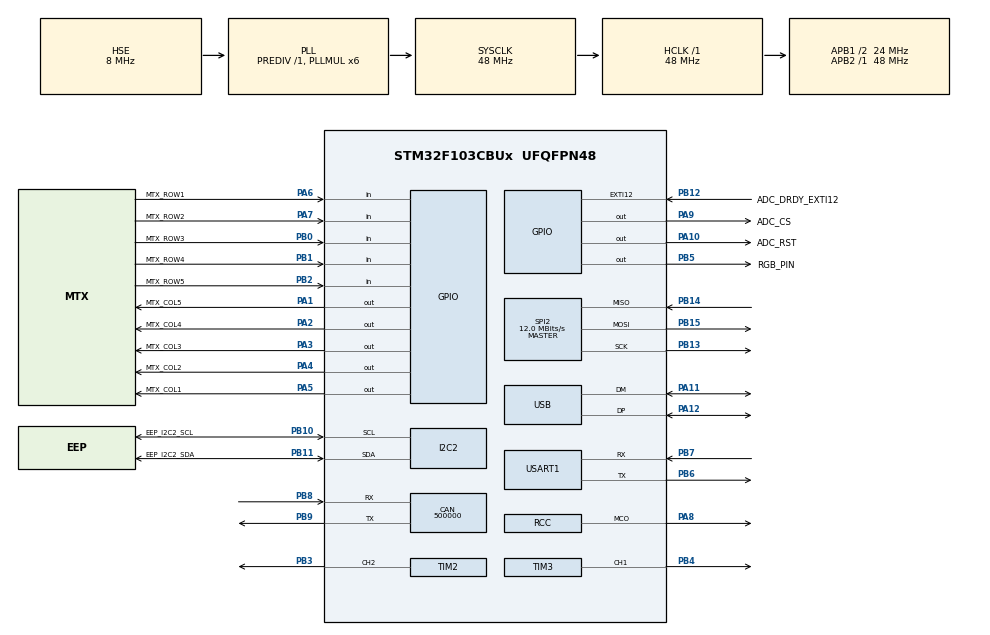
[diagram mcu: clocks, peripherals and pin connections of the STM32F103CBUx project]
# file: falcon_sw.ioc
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CAN.CalculateBaudRate=500000
CAN.CalculateTimeBit=2000
CAN.CalculateTimeQuantum=666.6666666666666
Mcu.Family=STM32F1
Mcu.Name=STM32F103CBUx
Mcu.Package=UFQFPN48
NVIC.PriorityGroup=NVIC_PRIORITYGROUP_4
NVIC.USB_LP_CAN1_RX0_IRQn=true\:0\:0\:false\:false\:true\:false\:true\:true
PA1.GPIO_Label=MTX_COL5
PA1.Signal=GPIO_Output
PA10.GPIO_Label=ADC_RST
PA10.Signal=GPIO_Output
PA11.Mode=Device
PA11.Signal=USB_DM
PA12.Mode=Device
PA12.Signal=USB_DP
PA13.Mode=Serial_Wire
PA13.Signal=SYS_JTMS-SWDIO
PA14.Mode=Serial_Wire
PA14.Signal=SYS_JTCK-SWCLK
PA2.GPIO_Label=MTX_COL4
PA2.Signal=GPIO_Output
PA3.GPIO_Label=MTX_COL3
PA3.Signal=GPIO_Output
PA4.GPIO_Label=MTX_COL2
PA4.Signal=GPIO_Output
PA5.GPIO_Label=MTX_COL1
PA5.Signal=GPIO_Output
PA6.GPIO_Label=MTX_ROW1
PA6.Signal=GPIO_Input
PA7.GPIO_Label=MTX_ROW2
PA7.Signal=GPIO_Input
PA8.Mode=Clock-out
PA8.Signal=RCC_MCO
PA9.GPIO_Label=ADC_CS
PA9.Signal=GPIO_Output
PB0.GPIO_Label=MTX_ROW3
PB0.Signal=GPIO_Input
PB1.GPIO_Label=MTX_ROW4
PB1.Signal=GPIO_Input
PB10.GPIO_Label=EEP_I2C2_SCL
PB10.Mode=I2C
PB10.Signal=I2C2_SCL
PB11.GPIO_Label=EEP_I2C2_SDA
PB11.Mode=I2C
PB11.Signal=I2C2_SDA
PB12.GPIO_Label=ADC_DRDY_EXTI12
PB12.Signal=GPXTI12
PB13.Mode=Full_Duplex_Master
PB13.Signal=SPI2_SCK
PB14.Mode=Full_Duplex_Master
PB14.Signal=SPI2_MISO
PB15.Mode=Full_Duplex_Master
PB15.Signal=SPI2_MOSI
PB2.GPIO_Label=MTX_ROW5
PB2.Signal=GPIO_Input
PB3.Signal=S_TIM2_CH2
PB4.Signal=S_TIM3_CH1
PB5.GPIO_Label=RGB_PIN
PB5.Signal=GPIO_Output
PB6.Mode=Asynchronous
PB6.Signal=USART1_TX
PB7.Mode=Asynchronous
PB7.Signal=USART1_RX
PB8.Mode=CAN_Activate
PB8.Signal=CAN_RX
PB9.Mode=CAN_Activate
PB9.Signal=CAN_TX
PD0-OSC_IN.Mode=HSE-External-Oscillator
PD0-OSC_IN.Signal=RCC_OSC_IN
PD1-OSC_OUT.Mode=HSE-External-Oscillator
PD1-OSC_OUT.Signal=RCC_OSC_OUT
ProjectManager.HeapSize=0x200
ProjectManager.StackSize=0x400
ProjectManager.TargetToolchain=STM32CubeIDE
RCC.AHBFreq_Value=48000000
RCC.APB1CLKDivider=RCC_HCLK_DIV2
RCC.APB1Freq_Value=24000000
RCC.APB1TimFreq_Value=48000000
RCC.APB2Freq_Value=48000000
RCC.APB2TimFreq_Value=48000000
RCC.HCLKFreq_Value=48000000
RCC.PLLMUL=RCC_PLL_MUL6
RCC.SYSCLKFreq_VALUE=48000000
RCC.SYSCLKSource=RCC_SYSCLKSOURCE_PLLCLK
RCC.USBFreq_Value=48000000
SH.S_TIM2_CH2.0=TIM2_CH2,PWM Generation2 CH2
SH.S_TIM3_CH1.0=TIM3_CH1,PWM Generation1 CH1
SPI2.CalculateBaudRate=12.0 MBits/s
SPI2.Direction=SPI_DIRECTION_2LINES
SPI2.Mode=SPI_MODE_MASTER
SPI2.VirtualType=VM_MASTER
TIM2.Channel-PWM\ Generation2\ CH2=TIM_CHANNEL_2
TIM3.Channel-PWM\ Generation1\ CH1=TIM_CHANNEL_1
USART1.VirtualMode=VM_ASYNC
USB_DEVICE.CLASS_NAME_FS=CDC
USB_DEVICE.VirtualMode=Cdc
USB_DEVICE.VirtualModeFS=Cdc_FS
VP_USB_DEVICE_VS_USB_DEVICE_CDC_FS.Mode=CDC_FS
board=custom

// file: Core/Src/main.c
/* USER CODE BEGIN Header */
/**
  ******************************************************************************
  * @file           : main.c
  * @brief          : Main program body
  ******************************************************************************
  * @attention
  *
  * Copyright (c) 2025 STMicroelectronics.
  * All rights reserved.
  *
  * This software is licensed under terms that can be found in the LICENSE file
  * in the root directory of this software component.
  * If no LICENSE file comes with this software, it is provided AS-IS.
  *
  ******************************************************************************
  */
/* USER CODE END Header */
#include "main.h"
#include "usb_device.h"

/* USER CODE BEGIN Includes */
#include <stdio.h>
#include <string.h>
/* USER CODE END Includes */

CAN_HandleTypeDef hcan; //test

I2C_HandleTypeDef hi2c2;

SPI_HandleTypeDef hspi2;

TIM_HandleTypeDef htim2;
TIM_HandleTypeDef htim3;

UART_HandleTypeDef huart1;

void SystemClock_Config(void);
static void MX_GPIO_Init(void);
static void MX_CAN_Init(void);
static void MX_I2C2_Init(void);
static void MX_SPI2_Init(void);
static void MX_TIM2_Init(void);
static void MX_TIM3_Init(void);
static void MX_USART1_UART_Init(void);
/* USER CODE BEGIN PFP */
/* ADS131M03: 5-word SPI frame; cmd24 is MSB-first 24-bit command; first RX word is 24-bit (16-bit register MSB-aligned in bits 23:8). */
static uint32_t ads131m03_frame_exchange(uint32_t cmd24);
static void ads131m03_reset(void);
static uint32_t ads131m03_rreg_opcode(uint8_t reg_addr);
static uint16_t ads131m03_read_reg16(uint8_t reg_addr);
static void ads131m03_apply_spi_probe(uint32_t cpol_phase, uint32_t prescaler);
static int ads131m03_id_looks_valid(uint16_t id_reg);
static void ads131m03_run_connection_test(void);
/* USER CODE END PFP */

/* USER CODE BEGIN 0 */
#define LOG_BUF_SIZE 256
static char log_buf[LOG_BUF_SIZE];

/* Send one character to USART1 for printf() / puts() */
int __io_putchar(int ch)
{
  uint8_t c = (uint8_t)(ch & 0xFF);
  HAL_UART_Transmit(&huart1, &c, 1, 100);
  return ch;
}

/* Log a string (adds \\r\\n); uses fixed buffer to avoid stack overflow */
static void log_msg(const char *msg)
{
  size_t len = strlen(msg);
  if (len + 2 > LOG_BUF_SIZE)
    len = LOG_BUF_SIZE - 2;
  memcpy(log_buf, msg, len);
  log_buf[len++] = '\r';
  log_buf[len++] = '\n';
  HAL_UART_Transmit(&huart1, (uint8_t *)log_buf, (uint16_t)len, 500);
}
/* USER CODE END 0 */

int main(void)
{

  /* MCU Configuration--------------------------------------------------------*/

  /* Reset of all peripherals, Initializes the Flash interface and the Systick. */
  HAL_Init();

  /* Configure the system clock */
  SystemClock_Config();

  /* Initialize all configured peripherals */
  MX_GPIO_Init();
  MX_CAN_Init();
  MX_I2C2_Init();
  MX_SPI2_Init();
  MX_TIM2_Init();
  MX_TIM3_Init();
  MX_USART1_UART_Init();
  MX_USB_DEVICE_Init();
  /* USER CODE BEGIN 2 */
  /* MCO on PA8: use HSE (8 MHz per Cube config), not SYSCLK. Datasheet CLKIN 2 MHz–8.2 MHz (SBAS889A). */
  HAL_RCC_MCOConfig(RCC_MCO, RCC_MCO1SOURCE_HSE, RCC_MCODIV_1);

  HAL_GPIO_WritePin(ADC_CS_GPIO_Port, ADC_CS_Pin, GPIO_PIN_SET);
  HAL_Delay(50);

  ads131m03_run_connection_test();
  /* USER CODE END 2 */

  /* Infinite loop */
  while (1)
  {

  }
}

void SystemClock_Config(void)
{
  RCC_OscInitTypeDef RCC_OscInitStruct = {0};
  RCC_ClkInitTypeDef RCC_ClkInitStruct = {0};
  RCC_PeriphCLKInitTypeDef PeriphClkInit = {0};

  /** Initializes the RCC Oscillators according to the specified parameters
  * in the RCC_OscInitTypeDef structure.
  */
  RCC_OscInitStruct.OscillatorType = RCC_OSCILLATORTYPE_HSE;
  RCC_OscInitStruct.HSEState = RCC_HSE_ON;
  RCC_OscInitStruct.HSEPredivValue = RCC_HSE_PREDIV_DIV1;
  RCC_OscInitStruct.HSIState = RCC_HSI_ON;
  RCC_OscInitStruct.PLL.PLLState = RCC_PLL_ON;
  RCC_OscInitStruct.PLL.PLLSource = RCC_PLLSOURCE_HSE;
  RCC_OscInitStruct.PLL.PLLMUL = RCC_PLL_MUL6;
  if (HAL_RCC_OscConfig(&RCC_OscInitStruct) != HAL_OK)
  {
    Error_Handler();
  }

  /** Initializes the CPU, AHB and APB buses clocks
  */
  RCC_ClkInitStruct.ClockType = RCC_CLOCKTYPE_HCLK|RCC_CLOCKTYPE_SYSCLK
                              |RCC_CLOCKTYPE_PCLK1|RCC_CLOCKTYPE_PCLK2;
  RCC_ClkInitStruct.SYSCLKSource = RCC_SYSCLKSOURCE_PLLCLK;
  RCC_ClkInitStruct.AHBCLKDivider = RCC_SYSCLK_DIV1;
  RCC_ClkInitStruct.APB1CLKDivider = RCC_HCLK_DIV2;
  RCC_ClkInitStruct.APB2CLKDivider = RCC_HCLK_DIV1;

  if (HAL_RCC_ClockConfig(&RCC_ClkInitStruct, FLASH_LATENCY_1) != HAL_OK)
  {
    Error_Handler();
  }
  PeriphClkInit.PeriphClockSelection = RCC_PERIPHCLK_USB;
  PeriphClkInit.UsbClockSelection = RCC_USBCLKSOURCE_PLL;
  if (HAL_RCCEx_PeriphCLKConfig(&PeriphClkInit) != HAL_OK)
  {
    Error_Handler();
  }
  /* MCO (PA8 -> ADS131M03 CLKIN) is enabled in main after GPIO_Init */
}

static void MX_CAN_Init(void)
{

  hcan.Instance = CAN1;
  hcan.Init.Prescaler = 16;
  hcan.Init.Mode = CAN_MODE_NORMAL;
  hcan.Init.SyncJumpWidth = CAN_SJW_1TQ;
  hcan.Init.TimeSeg1 = CAN_BS1_1TQ;
  hcan.Init.TimeSeg2 = CAN_BS2_1TQ;
  hcan.Init.TimeTriggeredMode = DISABLE;
  hcan.Init.AutoBusOff = DISABLE;
  hcan.Init.AutoWakeUp = DISABLE;
  hcan.Init.AutoRetransmission = DISABLE;
  hcan.Init.ReceiveFifoLocked = DISABLE;
  hcan.Init.TransmitFifoPriority = DISABLE;
  if (HAL_CAN_Init(&hcan) != HAL_OK)
  {
    Error_Handler();
  }

}

static void MX_I2C2_Init(void)
{

  hi2c2.Instance = I2C2;
  hi2c2.Init.ClockSpeed = 100000;
  hi2c2.Init.DutyCycle = I2C_DUTYCYCLE_2;
  hi2c2.Init.OwnAddress1 = 0;
  hi2c2.Init.AddressingMode = I2C_ADDRESSINGMODE_7BIT;
  hi2c2.Init.DualAddressMode = I2C_DUALADDRESS_DISABLE;
  hi2c2.Init.OwnAddress2 = 0;
  hi2c2.Init.GeneralCallMode = I2C_GENERALCALL_DISABLE;
  hi2c2.Init.NoStretchMode = I2C_NOSTRETCH_DISABLE;
  if (HAL_I2C_Init(&hi2c2) != HAL_OK)
  {
    Error_Handler();
  }

}

static void MX_SPI2_Init(void)
{

  /* SPI2 parameter configuration*/
  hspi2.Instance = SPI2;
  hspi2.Init.Mode = SPI_MODE_MASTER;
  hspi2.Init.Direction = SPI_DIRECTION_2LINES;
  hspi2.Init.DataSize = SPI_DATASIZE_8BIT;
  hspi2.Init.CLKPolarity = SPI_POLARITY_LOW;
  hspi2.Init.CLKPhase = SPI_PHASE_1EDGE;
  hspi2.Init.NSS = SPI_NSS_SOFT;
  hspi2.Init.BaudRatePrescaler = SPI_BAUDRATEPRESCALER_2;
  hspi2.Init.FirstBit = SPI_FIRSTBIT_MSB;
  hspi2.Init.TIMode = SPI_TIMODE_DISABLE;
  hspi2.Init.CRCCalculation = SPI_CRCCALCULATION_DISABLE;
  hspi2.Init.CRCPolynomial = 10;
  if (HAL_SPI_Init(&hspi2) != HAL_OK)
  {
    Error_Handler();
  }
  /* USER CODE BEGIN SPI2_Init 2 */
  /* ADS131M03 requires CPOL=0, CPHA=1 (data latched on falling edge, output on rising) */
  hspi2.Init.CLKPhase = SPI_PHASE_2EDGE;
  /* Slower SPI for debugging: prescaler 8 (was 2) in case of signal integrity / timing */
  hspi2.Init.BaudRatePrescaler = SPI_BAUDRATEPRESCALER_8;
  if (HAL_SPI_Init(&hspi2) != HAL_OK)
  {
    Error_Handler();
  }
  /* USER CODE END SPI2_Init 2 */

}

static void MX_TIM2_Init(void)
{

  TIM_MasterConfigTypeDef sMasterConfig = {0};
  TIM_OC_InitTypeDef sConfigOC = {0};

  htim2.Instance = TIM2;
  htim2.Init.Prescaler = 0;
  htim2.Init.CounterMode = TIM_COUNTERMODE_UP;
  htim2.Init.Period = 65535;
  htim2.Init.ClockDivision = TIM_CLOCKDIVISION_DIV1;
  htim2.Init.AutoReloadPreload = TIM_AUTORELOAD_PRELOAD_DISABLE;
  if (HAL_TIM_PWM_Init(&htim2) != HAL_OK)
  {
    Error_Handler();
  }
  sMasterConfig.MasterOutputTrigger = TIM_TRGO_RESET;
  sMasterConfig.MasterSlaveMode = TIM_MASTERSLAVEMODE_DISABLE;
  if (HAL_TIMEx_MasterConfigSynchronization(&htim2, &sMasterConfig) != HAL_OK)
  {
    Error_Handler();
  }
  sConfigOC.OCMode = TIM_OCMODE_PWM1;
  sConfigOC.Pulse = 0;
  sConfigOC.OCPolarity = TIM_OCPOLARITY_HIGH;
  sConfigOC.OCFastMode = TIM_OCFAST_DISABLE;
  if (HAL_TIM_PWM_ConfigChannel(&htim2, &sConfigOC, TIM_CHANNEL_2) != HAL_OK)
  {
    Error_Handler();
  }
  HAL_TIM_MspPostInit(&htim2);

}

static void MX_TIM3_Init(void)
{

  TIM_MasterConfigTypeDef sMasterConfig = {0};
  TIM_OC_InitTypeDef sConfigOC = {0};

  htim3.Instance = TIM3;
  htim3.Init.Prescaler = 0;
  htim3.Init.CounterMode = TIM_COUNTERMODE_UP;
  htim3.Init.Period = 65535;
  htim3.Init.ClockDivision = TIM_CLOCKDIVISION_DIV1;
  htim3.Init.AutoReloadPreload = TIM_AUTORELOAD_PRELOAD_DISABLE;
  if (HAL_TIM_PWM_Init(&htim3) != HAL_OK)
  {
    Error_Handler();
  }
  sMasterConfig.MasterOutputTrigger = TIM_TRGO_RESET;
  sMasterConfig.MasterSlaveMode = TIM_MASTERSLAVEMODE_DISABLE;
  if (HAL_TIMEx_MasterConfigSynchronization(&htim3, &sMasterConfig) != HAL_OK)
  {
    Error_Handler();
  }
  sConfigOC.OCMode = TIM_OCMODE_PWM1;
  sConfigOC.Pulse = 0;
  sConfigOC.OCPolarity = TIM_OCPOLARITY_HIGH;
  sConfigOC.OCFastMode = TIM_OCFAST_DISABLE;
  if (HAL_TIM_PWM_ConfigChannel(&htim3, &sConfigOC, TIM_CHANNEL_1) != HAL_OK)
  {
    Error_Handler();
  }
  HAL_TIM_MspPostInit(&htim3);

}

static void MX_USART1_UART_Init(void)
{

  huart1.Instance = USART1;
  huart1.Init.BaudRate = 115200;
  huart1.Init.WordLength = UART_WORDLENGTH_8B;
  huart1.Init.StopBits = UART_STOPBITS_1;
  huart1.Init.Parity = UART_PARITY_NONE;
  huart1.Init.Mode = UART_MODE_TX_RX;
  huart1.Init.HwFlowCtl = UART_HWCONTROL_NONE;
  huart1.Init.OverSampling = UART_OVERSAMPLING_16;
  if (HAL_UART_Init(&huart1) != HAL_OK)
  {
    Error_Handler();
  }

}

static void MX_GPIO_Init(void)
{
  GPIO_InitTypeDef GPIO_InitStruct = {0};

  /* GPIO Ports Clock Enable */
  __HAL_RCC_GPIOD_CLK_ENABLE();
  __HAL_RCC_GPIOA_CLK_ENABLE();
  __HAL_RCC_GPIOB_CLK_ENABLE();

  /*Configure GPIO pin Output Level */
  HAL_GPIO_WritePin(GPIOA, MTX_COL5_Pin|MTX_COL4_Pin|MTX_COL3_Pin|MTX_COL2_Pin
                          |MTX_COL1_Pin|ADC_CS_Pin|ADC_RST_Pin, GPIO_PIN_RESET);

  /*Configure GPIO pin Output Level */
  HAL_GPIO_WritePin(RGB_PIN_GPIO_Port, RGB_PIN_Pin, GPIO_PIN_RESET);

  /*Configure GPIO pins : MTX_COL5_Pin MTX_COL4_Pin MTX_COL3_Pin MTX_COL2_Pin
                           MTX_COL1_Pin ADC_CS_Pin ADC_RST_Pin */
  GPIO_InitStruct.Pin = MTX_COL5_Pin|MTX_COL4_Pin|MTX_COL3_Pin|MTX_COL2_Pin
                          |MTX_COL1_Pin|ADC_CS_Pin|ADC_RST_Pin;
  GPIO_InitStruct.Mode = GPIO_MODE_OUTPUT_PP;
  GPIO_InitStruct.Pull = GPIO_NOPULL;
  GPIO_InitStruct.Speed = GPIO_SPEED_FREQ_LOW;
  HAL_GPIO_Init(GPIOA, &GPIO_InitStruct);

  /*Configure GPIO pins : MTX_ROW1_Pin MTX_ROW2_Pin */
  GPIO_InitStruct.Pin = MTX_ROW1_Pin|MTX_ROW2_Pin;
  GPIO_InitStruct.Mode = GPIO_MODE_INPUT;
  GPIO_InitStruct.Pull = GPIO_NOPULL;
  HAL_GPIO_Init(GPIOA, &GPIO_InitStruct);

  /*Configure GPIO pins : MTX_ROW3_Pin MTX_ROW4_Pin MTX_ROW5_Pin */
  GPIO_InitStruct.Pin = MTX_ROW3_Pin|MTX_ROW4_Pin|MTX_ROW5_Pin;
  GPIO_InitStruct.Mode = GPIO_MODE_INPUT;
  GPIO_InitStruct.Pull = GPIO_NOPULL;
  HAL_GPIO_Init(GPIOB, &GPIO_InitStruct);

  /*Configure GPIO pin : ADC_DRDY_EXTI12_Pin */
  GPIO_InitStruct.Pin = ADC_DRDY_EXTI12_Pin;
  GPIO_InitStruct.Mode = GPIO_MODE_IT_RISING;
  GPIO_InitStruct.Pull = GPIO_NOPULL;
  HAL_GPIO_Init(ADC_DRDY_EXTI12_GPIO_Port, &GPIO_InitStruct);

  /*Configure GPIO pin : PA8 (MCO / ADC_MCO - master clock output for ADS131M03) */
  GPIO_InitStruct.Pin = GPIO_PIN_8;
  GPIO_InitStruct.Mode = GPIO_MODE_AF_PP;
  GPIO_InitStruct.Speed = GPIO_SPEED_FREQ_HIGH;  /* fast slew for clock output */
  HAL_GPIO_Init(GPIOA, &GPIO_InitStruct);

  /*Configure GPIO pin : RGB_PIN_Pin */
  GPIO_InitStruct.Pin = RGB_PIN_Pin;
  GPIO_InitStruct.Mode = GPIO_MODE_OUTPUT_PP;
  GPIO_InitStruct.Pull = GPIO_NOPULL;
  GPIO_InitStruct.Speed = GPIO_SPEED_FREQ_LOW;
  HAL_GPIO_Init(RGB_PIN_GPIO_Port, &GPIO_InitStruct);

}

/* USER CODE BEGIN 4 */
#define ADS131M03_FRAME_WORDS  5
#define ADS131M03_FRAME_BYTES  (ADS131M03_FRAME_WORDS * 3)
#define ADS131M03_SPI_TIMEOUT 100

static uint32_t ads131m03_frame_exchange(uint32_t cmd24)
{
  uint8_t tx[ADS131M03_FRAME_BYTES];
  uint8_t rx[ADS131M03_FRAME_BYTES];
  uint32_t first_word24;

  tx[0] = (uint8_t)((cmd24 >> 16) & 0xFF);
  tx[1] = (uint8_t)((cmd24 >> 8) & 0xFF);
  tx[2] = (uint8_t)(cmd24 & 0xFF);
  memset(tx + 3, 0, ADS131M03_FRAME_BYTES - 3);

  HAL_GPIO_WritePin(ADC_CS_GPIO_Port, ADC_CS_Pin, GPIO_PIN_RESET);
  HAL_SPI_TransmitReceive(&hspi2, tx, rx, ADS131M03_FRAME_BYTES, ADS131M03_SPI_TIMEOUT);
  HAL_GPIO_WritePin(ADC_CS_GPIO_Port, ADC_CS_Pin, GPIO_PIN_SET);

  first_word24 = ((uint32_t)rx[0] << 16) | ((uint32_t)rx[1] << 8) | (uint32_t)rx[2];
  return first_word24;
}

static uint32_t ads131m03_rreg_opcode(uint8_t reg_addr)
{
  return 0xA00000u | (((uint32_t)reg_addr & 0x3Fu) << 14);
}

static uint16_t ads131m03_read_reg16(uint8_t reg_addr)
{
  ads131m03_frame_exchange(ads131m03_rreg_opcode(reg_addr));
  {
    uint32_t w = ads131m03_frame_exchange(0u);
    return (uint16_t)((w >> 8) & 0xFFFFu);
  }
}

static void ads131m03_apply_spi_probe(uint32_t cpol_phase, uint32_t prescaler)
{
  /* cpol_phase: 0..3 = (CPOL,CPHA) 00,01,10,11 per STM32 naming */
  hspi2.Init.CLKPolarity = (cpol_phase & 2u) ? SPI_POLARITY_HIGH : SPI_POLARITY_LOW;
  hspi2.Init.CLKPhase = (cpol_phase & 1u) ? SPI_PHASE_2EDGE : SPI_PHASE_1EDGE;
  hspi2.Init.BaudRatePrescaler = prescaler;
  if (HAL_SPI_Init(&hspi2) != HAL_OK)
    Error_Handler();
}

static int ads131m03_id_looks_valid(uint16_t id_reg)
{
  /* ID reset 23xxh: bits 15:12 = 0010b, bits 11:8 = 0011b (CHANCNT=3); bits 7:0 vary (Table 8-14). */
  return (id_reg & 0xFF00u) == 0x2300u;
}

typedef struct
{
  uint8_t addr;
  uint16_t mask;
  uint16_t expect;
  const char *name;
} Ads131RegExpect;

/* Table 8-12 SBAS889A reset values; 0x05 not in map (reserved gap). */
static const Ads131RegExpect ads131_expects[] = {
  { 0x01u, 0xFFF8u, 0x0500u, "STATUS" },
  { 0x02u, 0xFFFFu, 0x0510u, "MODE" },
  { 0x03u, 0xFFFFu, 0x080Eu, "CLOCK" },
  { 0x04u, 0xFFFFu, 0x0000u, "GAIN" },
  { 0x06u, 0xFFFFu, 0x0600u, "CFG" },
  { 0x07u, 0xFFFFu, 0x0000u, "THRSHLD_MSB" },
  { 0x08u, 0xFFFFu, 0x0000u, "THRSHLD_LSB" },
  { 0x09u, 0xFFFFu, 0x0000u, "CH0_CFG" },
  { 0x0Au, 0xFFFFu, 0x0000u, "CH0_OCAL_MSB" },
  { 0x0Bu, 0xFFFFu, 0x0000u, "CH0_OCAL_LSB" },
  { 0x0Cu, 0xFFFFu, 0x8000u, "CH0_GCAL_MSB" },
  { 0x0Du, 0xFFFFu, 0x0000u, "CH0_GCAL_LSB" },
  { 0x0Eu, 0xFFFFu, 0x0000u, "CH1_CFG" },
  { 0x0Fu, 0xFFFFu, 0x0000u, "CH1_OCAL_MSB" },
  { 0x10u, 0xFFFFu, 0x0000u, "CH1_OCAL_LSB" },
  { 0x11u, 0xFFFFu, 0x8000u, "CH1_GCAL_MSB" },
  { 0x12u, 0xFFFFu, 0x0000u, "CH1_GCAL_LSB" },
  { 0x13u, 0xFFFFu, 0x0000u, "CH2_CFG" },
  { 0x14u, 0xFFFFu, 0x0000u, "CH2_OCAL_MSB" },
  { 0x15u, 0xFFFFu, 0x0000u, "CH2_OCAL_LSB" },
  { 0x16u, 0xFFFFu, 0x8000u, "CH2_GCAL_MSB" },
  { 0x17u, 0xFFFFu, 0x0000u, "CH2_GCAL_LSB" },
  { 0x3Eu, 0xFFFFu, 0x0000u, "REGMAP_CRC" },
};

static const uint8_t ads131_reserved_probe[] = {
  0x05u, 0x18u, 0x19u, 0x1Au, 0x1Bu, 0x1Cu, 0x1Du, 0x1Eu, 0x1Fu,
  0x20u, 0x21u, 0x22u, 0x23u, 0x24u, 0x25u, 0x26u, 0x27u, 0x28u, 0x29u, 0x2Au, 0x2Bu, 0x2Cu, 0x2Du, 0x2Eu, 0x2Fu,
  0x30u, 0x31u, 0x32u, 0x33u, 0x34u, 0x35u, 0x36u, 0x37u, 0x38u, 0x39u, 0x3Au, 0x3Bu, 0x3Cu, 0x3Du, 0x3Fu
};

static void ads131m03_run_connection_test(void)
{
  static const uint32_t prescalers[] = {
    SPI_BAUDRATEPRESCALER_256, SPI_BAUDRATEPRESCALER_128, SPI_BAUDRATEPRESCALER_64,
    SPI_BAUDRATEPRESCALER_32, SPI_BAUDRATEPRESCALER_16, SPI_BAUDRATEPRESCALER_8,
    SPI_BAUDRATEPRESCALER_4, SPI_BAUDRATEPRESCALER_2
  };
  static const unsigned int pre_divisor[] = { 256u, 128u, 64u, 32u, 16u, 8u, 4u, 2u };
  const char *mode_names[] = { "CPOL0_CPHA0", "CPOL0_CPHA1", "CPOL1_CPHA0", "CPOL1_CPHA1" };
  uint32_t best_mode = 0;
  uint32_t best_pre = SPI_BAUDRATEPRESCALER_256;
  int found = 0;
  unsigned int ui, uj;
  uint16_t id_sample;
  int pass_count = 0;
  int check_count = 0;

  printf("\r\n======== ADS131M03 connection check ========\r\n");
  printf("Pins: PA8 MCO->CLKIN, PA9 CS, PA10 SYNC/RST, PB13 SCK PB14 MISO PB15 MOSI\r\n");
  printf("UART: USART1 remap PB6 TX / PB7 RX @ 115200\r\n");
  printf("MCO source: HSE (~8 MHz). Datasheet CLKIN 2-8.2 MHz.\r\n\r\n");

  printf("Sweep SPI mode (CPOL/CPHA) x prescaler; look for ID CHANCNT=3...\r\n");
  for (ui = 0; ui < 4u; ui++)
  {
    for (uj = 0; uj < sizeof(prescalers) / sizeof(prescalers[0]); uj++)
    {
      ads131m03_apply_spi_probe(ui, prescalers[uj]);
      ads131m03_reset();
      (void)ads131m03_frame_exchange(0u);
      (void)ads131m03_frame_exchange(ads131m03_rreg_opcode(0u));
      id_sample = (uint16_t)((ads131m03_frame_exchange(0u) >> 8) & 0xFFFFu);
      printf("  mode=%s pre=/%-3u -> ID=0x%04X %s\r\n", mode_names[ui],
             pre_divisor[uj], (unsigned int)id_sample,
             ads131m03_id_looks_valid(id_sample) ? "OK" : "--");
      if (ads131m03_id_looks_valid(id_sample) && !found)
      {
        found = 1;
        best_mode = ui;
        best_pre = prescalers[uj];
      }
    }
  }

  if (!found)
  {
    printf("\r\nSUMMARY: No valid ID on any SPI mode/prescaler. Check wiring, power, CLKIN on PA8, CS on PA9.\r\n");
    /* Restore datasheet-recommended Mode 1 for any manual probing */
    ads131m03_apply_spi_probe(1u, SPI_BAUDRATEPRESCALER_8);
    return;
  }

  printf("\r\nUsing first hit: %s, prescaler enc=0x%lX (re-init for register sweep).\r\n",
         mode_names[best_mode], (unsigned long)best_pre);
  ads131m03_apply_spi_probe(best_mode, best_pre);
  ads131m03_reset();
  (void)ads131m03_frame_exchange(0u);

  printf("\r\n--- Register reads vs Table 8-12 reset (mask where noted) ---\r\n");
  id_sample = ads131m03_read_reg16(0u);
  check_count++;
  if (ads131m03_id_looks_valid(id_sample))
  {
    pass_count++;
    printf("  [OK] 0x00 ID           read 0x%04X (expect 0x23xx)\r\n", (unsigned int)id_sample);
  }
  else
  {
    printf("  [BAD] 0x00 ID           read 0x%04X\r\n", (unsigned int)id_sample);
  }

  for (ui = 0; ui < sizeof(ads131_expects) / sizeof(ads131_expects[0]); ui++)
  {
    const Ads131RegExpect *e = &ads131_expects[ui];
    uint16_t v = ads131m03_read_reg16(e->addr);
    check_count++;
    if ((v & e->mask) == (e->expect & e->mask))
    {
      pass_count++;
      printf("  [OK] 0x%02X %-14s read 0x%04X\r\n", (unsigned int)e->addr, e->name, (unsigned int)v);
    }
    else
    {
      printf("  [XX] 0x%02X %-14s read 0x%04X (want 0x%04X & 0x%04X)\r\n",
             (unsigned int)e->addr, e->name, (unsigned int)v, (unsigned int)e->expect, (unsigned int)e->mask);
    }
  }

  printf("\r\n--- Reserved / unlisted addresses (read only, no pass/fail) ---\r\n");
  for (ui = 0; ui < sizeof(ads131_reserved_probe) / sizeof(ads131_reserved_probe[0]); ui++)
  {
    uint8_t a = ads131_reserved_probe[ui];
    uint16_t v = ads131m03_read_reg16(a);
    printf("  0x%02X -> 0x%04X\r\n", (unsigned int)a, (unsigned int)v);
  }

  printf("\r\n======== SUMMARY: %d / %d checks matched expected reset ========\r\n", pass_count, check_count);
  if (pass_count == check_count)
    printf("ADS131M03 SPI link OK.\r\n");
  else
    printf("Some mismatches (DRDY on STATUS, prior writes, or noise). Re-run after power cycle.\r\n");
}

static void ads131m03_reset(void)
{
  /* SYNC/RESET low > 2048 CLKIN cycles (~0.25 ms at 8 MHz); use 1 ms then release */
  HAL_GPIO_WritePin(ADC_RST_GPIO_Port, ADC_RST_Pin, GPIO_PIN_RESET);
  HAL_Delay(10);
  HAL_GPIO_WritePin(ADC_RST_GPIO_Port, ADC_RST_Pin, GPIO_PIN_SET);
  HAL_Delay(50);  /* allow internal clocks to stabilize before first SPI access */
}
/* USER CODE END 4 */

void Error_Handler(void)
{
  __disable_irq();
  while (1)
  {
  }
}
